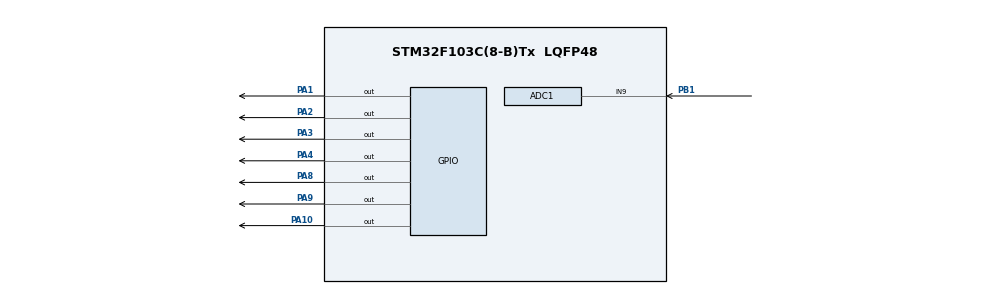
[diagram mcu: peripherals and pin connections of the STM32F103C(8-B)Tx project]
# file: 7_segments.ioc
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ADC1.Channel-0\#ChannelRegularConversion=ADC_CHANNEL_9
ADC1.ContinuousConvMode=ENABLE
ADC1.NbrOfConversionFlag=1
ADC1.Rank-0\#ChannelRegularConversion=1
ADC1.SamplingTime-0\#ChannelRegularConversion=ADC_SAMPLETIME_1CYCLE_5
ADC1.master=1
Mcu.Family=STM32F1
Mcu.Name=STM32F103C(8-B)Tx
Mcu.Package=LQFP48
NVIC.PriorityGroup=NVIC_PRIORITYGROUP_4
PA1.Signal=GPIO_Output
PA10.Signal=GPIO_Output
PA13.Mode=Serial_Wire
PA13.Signal=SYS_JTMS-SWDIO
PA14.Mode=Serial_Wire
PA14.Signal=SYS_JTCK-SWCLK
PA2.Signal=GPIO_Output
PA3.Signal=GPIO_Output
PA4.Signal=GPIO_Output
PA8.Signal=GPIO_Output
PA9.Signal=GPIO_Output
PB1.Signal=ADCx_IN9
ProjectManager.HeapSize=0x200
ProjectManager.StackSize=0x400
ProjectManager.TargetToolchain=STM32CubeIDE
RCC.APB1Freq_Value=8000000
RCC.APB2Freq_Value=8000000
SH.ADCx_IN9.0=ADC1_IN9,IN9
board=custom

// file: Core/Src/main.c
/* USER CODE BEGIN Header */
/**
  ******************************************************************************
  * @file           : main.c
  * @brief          : Main program body
  ******************************************************************************
  * @attention
  *
  * Copyright (c) 2025 STMicroelectronics.
  * All rights reserved.
  *
  * This software is licensed under terms that can be found in the LICENSE file
  * in the root directory of this software component.
  * If no LICENSE file comes with this software, it is provided AS-IS.
  *
  ******************************************************************************
  */
/* USER CODE END Header */
#include "main.h"

ADC_HandleTypeDef hadc1;

void SystemClock_Config(void);
static void MX_GPIO_Init(void);
static void MX_ADC1_Init(void);

int main(void)
{

  /* MCU Configuration--------------------------------------------------------*/

  /* Reset of all peripherals, Initializes the Flash interface and the Systick. */
  HAL_Init();

  /* Configure the system clock */
  SystemClock_Config();

  /* Initialize all configured peripherals */
  MX_GPIO_Init();
  MX_ADC1_Init();
  /* USER CODE BEGIN 2 */

  uint16_t readVal;
  HAL_ADC_Start(&hadc1);

  /* USER CODE END 2 */

  /* Infinite loop */
  /* USER CODE BEGIN WHILE */
  while (1)
  {
	  HAL_ADC_PollForConversion(&hadc1, 1000);
	  readVal = HAL_ADC_GetValue(&hadc1);

	  if(readVal < 10){

	    HAL_GPIO_WritePin(GPIOA, GPIO_PIN_1, 1);
	    HAL_GPIO_WritePin(GPIOA, GPIO_PIN_2, 0);
	    HAL_GPIO_WritePin(GPIOA, GPIO_PIN_3, 0);
	    HAL_GPIO_WritePin(GPIOA, GPIO_PIN_4, 0);
	    HAL_GPIO_WritePin(GPIOA, GPIO_PIN_8, 0);
	    HAL_GPIO_WritePin(GPIOA, GPIO_PIN_9, 0);
	    HAL_GPIO_WritePin(GPIOA, GPIO_PIN_10, 0);
	    HAL_Delay(1000);
	  }

	  else if(readVal < 80 ){

	    HAL_GPIO_WritePin(GPIOA, GPIO_PIN_1, 1);
	    HAL_GPIO_WritePin(GPIOA, GPIO_PIN_2, 1);
	    HAL_GPIO_WritePin(GPIOA, GPIO_PIN_3, 1);
	    HAL_GPIO_WritePin(GPIOA, GPIO_PIN_4, 0);
	    HAL_GPIO_WritePin(GPIOA, GPIO_PIN_8, 0);
	    HAL_GPIO_WritePin(GPIOA, GPIO_PIN_9, 1);
	    HAL_GPIO_WritePin(GPIOA, GPIO_PIN_10, 1);
	    HAL_Delay(1000);
	  }

	  else if(readVal < 150 ){

	    HAL_GPIO_WritePin(GPIOA, GPIO_PIN_1, 0);
	    HAL_GPIO_WritePin(GPIOA, GPIO_PIN_2, 1);
	    HAL_GPIO_WritePin(GPIOA, GPIO_PIN_3, 0);
	    HAL_GPIO_WritePin(GPIOA, GPIO_PIN_4, 0);
	    HAL_GPIO_WritePin(GPIOA, GPIO_PIN_8, 1);
	    HAL_GPIO_WritePin(GPIOA, GPIO_PIN_9, 0);
	    HAL_GPIO_WritePin(GPIOA, GPIO_PIN_10, 0);
	    HAL_Delay(1000);
	  }

	  else if(readVal < 200){

	    HAL_GPIO_WritePin(GPIOA, GPIO_PIN_1, 0);
	    HAL_GPIO_WritePin(GPIOA, GPIO_PIN_2, 1);
	    HAL_GPIO_WritePin(GPIOA, GPIO_PIN_3, 0);
	    HAL_GPIO_WritePin(GPIOA, GPIO_PIN_4, 0);
	    HAL_GPIO_WritePin(GPIOA, GPIO_PIN_8, 0);
	    HAL_GPIO_WritePin(GPIOA, GPIO_PIN_9, 0);
	    HAL_GPIO_WritePin(GPIOA, GPIO_PIN_10, 1);
	    HAL_Delay(1000);
	  }

	  else if(readVal < 250){

	    HAL_GPIO_WritePin(GPIOA, GPIO_PIN_1, 0);
	    HAL_GPIO_WritePin(GPIOA, GPIO_PIN_2, 0);
	    HAL_GPIO_WritePin(GPIOA, GPIO_PIN_3, 1);
	    HAL_GPIO_WritePin(GPIOA, GPIO_PIN_4, 0);
	    HAL_GPIO_WritePin(GPIOA, GPIO_PIN_8, 0);
	    HAL_GPIO_WritePin(GPIOA, GPIO_PIN_9, 1);
	    HAL_GPIO_WritePin(GPIOA, GPIO_PIN_10, 1);
	    HAL_Delay(1000);
	  }

	  else if(readVal < 300){

	    HAL_GPIO_WritePin(GPIOA, GPIO_PIN_1, 0);
	    HAL_GPIO_WritePin(GPIOA, GPIO_PIN_2, 0);
	    HAL_GPIO_WritePin(GPIOA, GPIO_PIN_3, 0);
	    HAL_GPIO_WritePin(GPIOA, GPIO_PIN_4, 1);
	    HAL_GPIO_WritePin(GPIOA, GPIO_PIN_8, 0);
	    HAL_GPIO_WritePin(GPIOA, GPIO_PIN_9, 0);
	    HAL_GPIO_WritePin(GPIOA, GPIO_PIN_10, 1);
	    HAL_Delay(1000);
	  }

	  else if(readVal > 1800){

	    HAL_GPIO_WritePin(GPIOA, GPIO_PIN_1, 0);
	    HAL_GPIO_WritePin(GPIOA, GPIO_PIN_2, 0);
	    HAL_GPIO_WritePin(GPIOA, GPIO_PIN_3, 0);
	    HAL_GPIO_WritePin(GPIOA, GPIO_PIN_4, 1);
	    HAL_GPIO_WritePin(GPIOA, GPIO_PIN_8, 0);
	    HAL_GPIO_WritePin(GPIOA, GPIO_PIN_9, 0);
	    HAL_GPIO_WritePin(GPIOA, GPIO_PIN_10, 0);
	    HAL_Delay(1000);
	  }

	  else if(readVal < 400){

	    HAL_GPIO_WritePin(GPIOA, GPIO_PIN_1, 1);
	    HAL_GPIO_WritePin(GPIOA, GPIO_PIN_2, 1);
	    HAL_GPIO_WritePin(GPIOA, GPIO_PIN_3, 0);
	    HAL_GPIO_WritePin(GPIOA, GPIO_PIN_4, 0);
	    HAL_GPIO_WritePin(GPIOA, GPIO_PIN_8, 0);
	    HAL_GPIO_WritePin(GPIOA, GPIO_PIN_9, 1);
	    HAL_GPIO_WritePin(GPIOA, GPIO_PIN_10, 1);
	    HAL_Delay(1000);
	  }

	  else if(readVal < 500){

	    HAL_GPIO_WritePin(GPIOA, GPIO_PIN_1, 0);
	    HAL_GPIO_WritePin(GPIOA, GPIO_PIN_2, 0);
	    HAL_GPIO_WritePin(GPIOA, GPIO_PIN_3, 0);
	    HAL_GPIO_WritePin(GPIOA, GPIO_PIN_4, 0);
	    HAL_GPIO_WritePin(GPIOA, GPIO_PIN_8, 0);
	    HAL_GPIO_WritePin(GPIOA, GPIO_PIN_9, 0);
	    HAL_GPIO_WritePin(GPIOA, GPIO_PIN_10, 0);
	    HAL_Delay(1000);
	  }

	  else{

	    HAL_GPIO_WritePin(GPIOA, GPIO_PIN_1, 0);
	    HAL_GPIO_WritePin(GPIOA, GPIO_PIN_2, 0);
	    HAL_GPIO_WritePin(GPIOA, GPIO_PIN_3, 0);
	    HAL_GPIO_WritePin(GPIOA, GPIO_PIN_4, 0);
	    HAL_GPIO_WritePin(GPIOA, GPIO_PIN_8, 0);
	    HAL_GPIO_WritePin(GPIOA, GPIO_PIN_9, 0);
	    HAL_GPIO_WritePin(GPIOA, GPIO_PIN_10, 1);
	    HAL_Delay(1000);
	  }

	  HAL_Delay(50);

    /* USER CODE END WHILE */

  }
}

void SystemClock_Config(void)
{
  RCC_OscInitTypeDef RCC_OscInitStruct = {0};
  RCC_ClkInitTypeDef RCC_ClkInitStruct = {0};
  RCC_PeriphCLKInitTypeDef PeriphClkInit = {0};

  /** Initializes the RCC Oscillators according to the specified parameters
  * in the RCC_OscInitTypeDef structure.
  */
  RCC_OscInitStruct.OscillatorType = RCC_OSCILLATORTYPE_HSI;
  RCC_OscInitStruct.HSIState = RCC_HSI_ON;
  RCC_OscInitStruct.HSICalibrationValue = RCC_HSICALIBRATION_DEFAULT;
  RCC_OscInitStruct.PLL.PLLState = RCC_PLL_NONE;
  if (HAL_RCC_OscConfig(&RCC_OscInitStruct) != HAL_OK)
  {
    Error_Handler();
  }

  /** Initializes the CPU, AHB and APB buses clocks
  */
  RCC_ClkInitStruct.ClockType = RCC_CLOCKTYPE_HCLK|RCC_CLOCKTYPE_SYSCLK
                              |RCC_CLOCKTYPE_PCLK1|RCC_CLOCKTYPE_PCLK2;
  RCC_ClkInitStruct.SYSCLKSource = RCC_SYSCLKSOURCE_HSI;
  RCC_ClkInitStruct.AHBCLKDivider = RCC_SYSCLK_DIV1;
  RCC_ClkInitStruct.APB1CLKDivider = RCC_HCLK_DIV1;
  RCC_ClkInitStruct.APB2CLKDivider = RCC_HCLK_DIV1;

  if (HAL_RCC_ClockConfig(&RCC_ClkInitStruct, FLASH_LATENCY_0) != HAL_OK)
  {
    Error_Handler();
  }
  PeriphClkInit.PeriphClockSelection = RCC_PERIPHCLK_ADC;
  PeriphClkInit.AdcClockSelection = RCC_ADCPCLK2_DIV2;
  if (HAL_RCCEx_PeriphCLKConfig(&PeriphClkInit) != HAL_OK)
  {
    Error_Handler();
  }
}

static void MX_ADC1_Init(void)
{

  ADC_ChannelConfTypeDef sConfig = {0};

  /** Common config
  */
  hadc1.Instance = ADC1;
  hadc1.Init.ScanConvMode = ADC_SCAN_DISABLE;
  hadc1.Init.ContinuousConvMode = ENABLE;
  hadc1.Init.DiscontinuousConvMode = DISABLE;
  hadc1.Init.ExternalTrigConv = ADC_SOFTWARE_START;
  hadc1.Init.DataAlign = ADC_DATAALIGN_RIGHT;
  hadc1.Init.NbrOfConversion = 1;
  if (HAL_ADC_Init(&hadc1) != HAL_OK)
  {
    Error_Handler();
  }

  /** Configure Regular Channel
  */
  sConfig.Channel = ADC_CHANNEL_9;
  sConfig.Rank = ADC_REGULAR_RANK_1;
  sConfig.SamplingTime = ADC_SAMPLETIME_1CYCLE_5;
  if (HAL_ADC_ConfigChannel(&hadc1, &sConfig) != HAL_OK)
  {
    Error_Handler();
  }

}

static void MX_GPIO_Init(void)
{
  GPIO_InitTypeDef GPIO_InitStruct = {0};

  /* GPIO Ports Clock Enable */
  __HAL_RCC_GPIOA_CLK_ENABLE();
  __HAL_RCC_GPIOB_CLK_ENABLE();

  /*Configure GPIO pin Output Level */
  HAL_GPIO_WritePin(GPIOA, GPIO_PIN_1|GPIO_PIN_2|GPIO_PIN_3|GPIO_PIN_4
                          |GPIO_PIN_8|GPIO_PIN_9|GPIO_PIN_10, GPIO_PIN_RESET);

  /*Configure GPIO pins : PA1 PA2 PA3 PA4
                           PA8 PA9 PA10 */
  GPIO_InitStruct.Pin = GPIO_PIN_1|GPIO_PIN_2|GPIO_PIN_3|GPIO_PIN_4
                          |GPIO_PIN_8|GPIO_PIN_9|GPIO_PIN_10;
  GPIO_InitStruct.Mode = GPIO_MODE_OUTPUT_PP;
  GPIO_InitStruct.Pull = GPIO_NOPULL;
  GPIO_InitStruct.Speed = GPIO_SPEED_FREQ_LOW;
  HAL_GPIO_Init(GPIOA, &GPIO_InitStruct);

}

void Error_Handler(void)
{
  __disable_irq();
  while (1)
  {
  }
}
